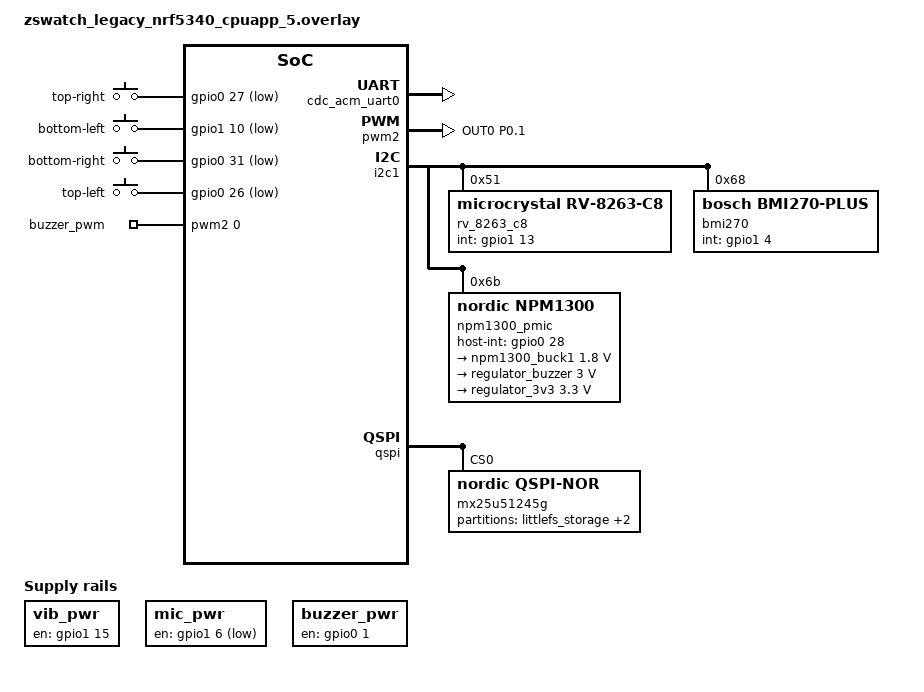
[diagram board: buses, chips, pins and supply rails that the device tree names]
#include <dt-bindings/regulator/npm13xx.h>
#include <zephyr/dt-bindings/input/input-event-codes.h>

&pinctrl {
	pwm0_default: pwm0_default {
		group1 {
			psels = <NRF_PSEL(PWM_OUT0, 0, 23)>;
		};
	};

	pwm0_sleep: pwm0_sleep {
		group1 {
			psels = <NRF_PSEL(PWM_OUT0, 0, 23)>;
			low-power-enable;
		};
	};

	pwm1_default: pwm1_default {
		group1 {
			psels = <NRF_PSEL(PWM_OUT0, 1, 5)>;
		};
	};

	pwm1_sleep: pwm1_sleep {
		group1 {
			psels = <NRF_PSEL(PWM_OUT0, 1, 5)>;
			low-power-enable;
		};
	};

	pwm2_default: pwm2_default {
		group1 {
			psels = <NRF_PSEL(PWM_OUT0, 0, 1)>;
		};
	};

	pwm2_sleep: pwm2_sleep {
		group1 {
			psels = <NRF_PSEL(PWM_OUT0, 0, 1)>;
			low-power-enable;
		};
	};
};

&uicr {
    nfct-pins-as-gpios;
};

&zephyr_udc0 {
	cdc_acm_uart0: cdc_acm_uart0 {
		compatible = "zephyr,cdc-acm-uart";
	};
};

&pwm2 {
    status = "okay";
    pinctrl-0 = <&pwm2_default>;
    pinctrl-1 = <&pwm2_sleep>;
    pinctrl-names = "default", "sleep";
};

/ {
	chosen {
		nordic,pm-ext-flash = &mx25u51245g;
		zephyr,console = &cdc_acm_uart0;
		zephyr,shell-uart = &cdc_acm_uart0;
		zephyr,uart-mcumgr = &cdc_acm_uart0;
	};

	aliases {
		spi-flash0 = &mx25u51245g;
		buzzer-pwm = &buzzer_pwm;
		rtc = &rv_8263_c8;
	};

    longpress: longpress {
        input = <&buttons>;
        compatible = "zephyr,input-longpress";
        input-codes = <INPUT_KEY_KP0>;
        short-codes = <INPUT_KEY_3>;
        long-codes = <INPUT_KEY_Y>;
        long-delay-ms = <10000>;
    };

	buttons: buttons {
        compatible = "gpio-keys";

        button1: button_1 {
            label = "top-right";
            gpios = <&gpio0 27 (GPIO_PULL_UP | GPIO_ACTIVE_LOW)>;
            zephyr,code = <INPUT_KEY_1>;
        };

        button2: button_2 {
            label = "bottom-left";
            gpios = <&gpio1 10 (GPIO_PULL_UP | GPIO_ACTIVE_LOW)>;
            zephyr,code = <INPUT_KEY_2>;
        };

        button3: button_3 {
            label = "bottom-right";
            gpios = <&gpio0 31 (GPIO_PULL_UP | GPIO_ACTIVE_LOW)>;
            zephyr,code = <INPUT_KEY_KP0>;
        };

        button4: button_4 {
            label = "top-left";
            gpios = <&gpio0 26 (GPIO_PULL_UP | GPIO_ACTIVE_LOW)>;
            zephyr,code = <INPUT_KEY_4>;
        };
    };

	vib_pwr: vib-pwr-ctrl {
        compatible = "regulator-fixed";
        regulator-name = "vib-pwr-ctrl";
        enable-gpios = <&gpio1 15 GPIO_ACTIVE_HIGH>;
    };

	mic_pwr: mic-pwr-ctrl {
        compatible = "regulator-fixed";
        regulator-name = "mic-pwr-ctrl";
        enable-gpios = <&gpio1 6 GPIO_ACTIVE_LOW>;
    };

	buzzer_pwr: buzzer-pwr-ctrl {
        compatible = "regulator-fixed";
        regulator-name = "buzzer-pwr-ctrl";
        enable-gpios = <&gpio0 1 0>;
    };

	pwmleds {
        compatible = "pwm-leds";

		buzzer_pwm: pwm_led_2 {
            pwms = <&pwm2 0 PWM_HZ(880) PWM_POLARITY_NORMAL>;
        };
    };
};

&uart0 {
    status = "disabled";
};

&i2c1 {
	rv_8263_c8: rv-8263-c8@51 {
		compatible = "microcrystal,rv-8263-c8";
		reg = <0x51>;
		status = "okay";
		clkout = <0>;
		int-gpios = <&gpio1 13 (GPIO_PULL_UP)>;
	};

	bmi270: bmi270@68 {
		compatible = "bosch,bmi270-plus";
		reg = <0x68>;
		status = "okay";
		int-gpios = <&gpio1 4 (GPIO_PULL_DOWN | GPIO_ACTIVE_HIGH)>;
		// NOTE: The swap is performed AFTER the axis inversion. So we have to invert the y axis of the sensor
		// to get the x axis of the watch coordinate system.
		swap-xy;
		invert-y;
	};

	npm1300_pmic: pmic@6b {
		compatible = "nordic,npm1300";
		reg = <0x6b>;
		host-int-gpios = <&gpio0 28 GPIO_ACTIVE_HIGH>;
		pmic-int-pin	= <4>;

		npm1300_gpio: gpio-controller {
			compatible = "nordic,npm1300-gpio";
			gpio-controller;
			#gpio-cells = <2>;
			ngpios = <5>;
		};

		npm1300_regulators: regulators {
			compatible = "nordic,npm1300-regulator";

			npm1300_buck1: BUCK1 {
				regulator-min-microvolt = <1800000>;
				regulator-max-microvolt = <1800000>;
				regulator-boot-on;
				regulator-always-on;
			};

			regulator_buzzer: BUCK2 {
				regulator-min-microvolt = <3000000>;
				regulator-max-microvolt = <3000000>;
				regulator-init-microvolt = <3000000>;
			};

			regulator_3v3: LDO1 {
				regulator-min-microvolt = <3300000>;
				regulator-max-microvolt = <3300000>;
				regulator-initial-mode = <NPM13XX_LDSW_MODE_LDO>;
				regulator-boot-on;
			};

			// LDO2 is not used
			npm1300_ldo2: LDO2 {
				status = "disabled";
			};
		};

		npm1300_charger: charger {
			compatible = "nordic,npm1300-charger";
			term-microvolt = <4400000>;
			term-warm-microvolt = <4000000>;
			current-microamp = <200000>; // 0.2C CC (constant current) charge to 4.4V,
			term-current-percent = <10>; // then 4.4V CV(constant voltage) charge till charge current decline to ≤ 0.02C
			dischg-limit-microamp = <1000000>;
			vbus-limit-microamp = <500000>;
			thermistor-ohms = <0>; // Don't use thermistor
			thermistor-beta = <0>; // Not used
			charging-enable;
		};

		npm1300_buttons: buttons {
			compatible = "gpio-keys";
			status = "disabled";
		};
	};
};

&qspi {
	status = "okay";
	pinctrl-0 = <&qspi_default>;
	pinctrl-1 = <&qspi_sleep>;
	pinctrl-names = "default", "sleep";

	mx25u51245g: mx25u51245g@0 {
		compatible = "nordic,qspi-nor";
		reg = <0>;
		sck-frequency = <96000000>;
		jedec-id = [c2 25 3a];
		size = <DT_SIZE_M(64*8)>;
		/*
		has-dpd;
        // CS High to Power-Down Mode (tDP) - 3 us
        // Rev. S Table 26. AC Electrical Characteristic
		t-enter-dpd = <20000>;
        // CS High to Standby Mode without Electronic Signature Read (tRES1) 3 us
        // Rev. S Table 26. AC Electrical Characteristic
		t-exit-dpd = <20000>;
		*/
		// Configure to actully use Quad SPI data.
		writeoc = "pp4io";
		readoc = "read4io";
		quad-enable-requirements = "S1B6";
	};
};

/delete-node/ &storage_partition;

&mx25u51245g {
	partitions {
		compatible = "fixed-partitions";
		#address-cells = <1>;
		#size-cells = <1>;
		
		// For Nordic Partition manager to work it has to have this name.
		littlefs_storage: partition@320000 {
			label = "littlefs_storage";
			reg = <0x320000 0x200000>;
		};

		lvgl_raw_partition: partition@520000 {
			label = "lvgl_raw_partition";
			reg = <0x520000 0x800000>;
		};

		storage_partition: partition@D20000 {
			label = "storage_partition";
			reg = <0xD20000 0x100000 >;
		};
	};
};
